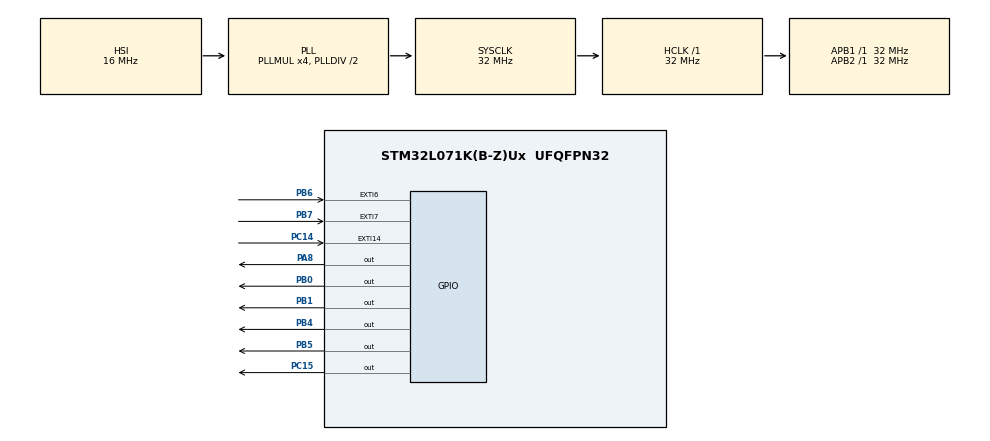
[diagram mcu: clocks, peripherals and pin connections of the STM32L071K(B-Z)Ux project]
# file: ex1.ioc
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Mcu.Family=STM32L0
Mcu.Name=STM32L071K(B-Z)Ux
Mcu.Package=UFQFPN32
NVIC.EXTI4_15_IRQn=true\:0\:0\:false\:false\:true\:true\:true
PA13.Mode=Serial_Wire
PA13.Signal=SYS_SWDIO
PA14.Mode=Serial_Wire
PA14.Signal=SYS_SWCLK
PA8.GPIO_PuPd=GPIO_PULLDOWN
PA8.PinState=GPIO_PIN_RESET
PA8.Signal=GPIO_Output
PB0.GPIO_PuPd=GPIO_PULLDOWN
PB0.Signal=GPIO_Output
PB1.GPIO_PuPd=GPIO_PULLDOWN
PB1.Signal=GPIO_Output
PB4.Signal=GPIO_Output
PB5.Signal=GPIO_Output
PB6.GPIO_ModeDefaultEXTI=GPIO_MODE_IT_RISING
PB6.GPIO_PuPd=GPIO_PULLDOWN
PB6.Signal=GPXTI6
PB7.GPIO_ModeDefaultEXTI=GPIO_MODE_IT_RISING
PB7.GPIO_PuPd=GPIO_PULLDOWN
PB7.Signal=GPXTI7
PC14-OSC32_IN.GPIO_ModeDefaultEXTI=GPIO_MODE_IT_RISING
PC14-OSC32_IN.GPIO_PuPd=GPIO_PULLDOWN
PC14-OSC32_IN.Signal=GPXTI14
PC15-OSC32_OUT.Signal=GPIO_Output
ProjectManager.HeapSize=0x200
ProjectManager.StackSize=0x400
ProjectManager.TargetToolchain=MDK-ARM V5
RCC.AHBFreq_Value=32000000
RCC.APB1Freq_Value=32000000
RCC.APB1TimFreq_Value=32000000
RCC.APB2Freq_Value=32000000
RCC.APB2TimFreq_Value=32000000
RCC.HCLKFreq_Value=32000000
RCC.HSI16_VALUE=16000000
RCC.HSI_VALUE=16000000
RCC.LSE_VALUE=32768
RCC.MSI_VALUE=2097000
RCC.PLLMUL=RCC_PLLMUL_4
RCC.SYSCLKFreq_VALUE=32000000
RCC.SYSCLKSource=RCC_SYSCLKSOURCE_PLLCLK
RCC.VCOOutputFreq_Value=64000000
board=custom

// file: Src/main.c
/* USER CODE BEGIN Header */
/**
  ******************************************************************************
  * @file           : main.c
  * @brief          : Main program body
  ******************************************************************************
  * @attention
  *
  * <h2><center>&copy; Copyright (c) 2019 STMicroelectronics.
  * All rights reserved.</center></h2>
  *
  * This software component is licensed by ST under BSD 3-Clause license,
  * the "License"; You may not use this file except in compliance with the
  * License. You may obtain a copy of the License at:
  *                        opensource.org/licenses/BSD-3-Clause
  *
  ******************************************************************************
  */
/* USER CODE END Header */

#include "main.h"
#include "gpio.h"
#include "key.h"

void SystemClock_Config(void);

/* USER CODE BEGIN 0 */
void Task_BrdInit(void)
{
    HAL_GPIO_WritePin(GPIOC, GPIO_PIN_15, GPIO_PIN_SET);

    OLED_PowerControl(ENABLE);

    HAL_Delay(200);
    OLED_Init();
    OLED_Clear();

    OLED_ShowString(0, 0, (unsigned char *)"                ", 16);
    OLED_ShowString(0, 2, (unsigned char *)"                ", 16);

}
/* USER CODE END 0 */

int main(void)
{
  /* USER CODE BEGIN 1 */
    char lcdLine_1st_line[16];
    char lcdLine_2st_line[16];

  /* USER CODE END 1 */

  /* MCU Configuration--------------------------------------------------------*/

  /* Reset of all peripherals, Initializes the Flash interface and the Systick. */
  HAL_Init();

  /* Configure the system clock */
  SystemClock_Config();

  /* Initialize all configured peripherals */
  MX_GPIO_Init();
  /* USER CODE BEGIN 2 */
    Task_BrdInit();
  /* USER CODE END 2 */

  /* Infinite loop */
    while (1)
    {

    /* USER CODE BEGIN 3 */
			key1();
			sprintf(lcdLine_1st_line, "%d",key_exti);
			sprintf(lcdLine_2st_line, "Hello World    ");

			OLED_ShowString(0, 0, (unsigned char *)lcdLine_1st_line, 16);
			OLED_ShowString(0, 2, (unsigned char *)lcdLine_2st_line, 16);
    }
  /* USER CODE END 3 */
}

void SystemClock_Config(void)
{
  RCC_OscInitTypeDef RCC_OscInitStruct = {0};
  RCC_ClkInitTypeDef RCC_ClkInitStruct = {0};

  /** Configure the main internal regulator output voltage
  */
  __HAL_PWR_VOLTAGESCALING_CONFIG(PWR_REGULATOR_VOLTAGE_SCALE1);
  /** Initializes the CPU, AHB and APB busses clocks
  */
  RCC_OscInitStruct.OscillatorType = RCC_OSCILLATORTYPE_HSI;
  RCC_OscInitStruct.HSIState = RCC_HSI_ON;
  RCC_OscInitStruct.HSICalibrationValue = RCC_HSICALIBRATION_DEFAULT;
  RCC_OscInitStruct.PLL.PLLState = RCC_PLL_ON;
  RCC_OscInitStruct.PLL.PLLSource = RCC_PLLSOURCE_HSI;
  RCC_OscInitStruct.PLL.PLLMUL = RCC_PLLMUL_4;
  RCC_OscInitStruct.PLL.PLLDIV = RCC_PLLDIV_2;
  if (HAL_RCC_OscConfig(&RCC_OscInitStruct) != HAL_OK)
  {
    Error_Handler();
  }
  /** Initializes the CPU, AHB and APB busses clocks
  */
  RCC_ClkInitStruct.ClockType = RCC_CLOCKTYPE_HCLK|RCC_CLOCKTYPE_SYSCLK
                              |RCC_CLOCKTYPE_PCLK1|RCC_CLOCKTYPE_PCLK2;
  RCC_ClkInitStruct.SYSCLKSource = RCC_SYSCLKSOURCE_PLLCLK;
  RCC_ClkInitStruct.AHBCLKDivider = RCC_SYSCLK_DIV1;
  RCC_ClkInitStruct.APB1CLKDivider = RCC_HCLK_DIV1;
  RCC_ClkInitStruct.APB2CLKDivider = RCC_HCLK_DIV1;

  if (HAL_RCC_ClockConfig(&RCC_ClkInitStruct, FLASH_LATENCY_1) != HAL_OK)
  {
    Error_Handler();
  }
}

void Error_Handler(void)
{
}

/************************ (C) COPYRIGHT STMicroelectronics *****END OF FILE****/
